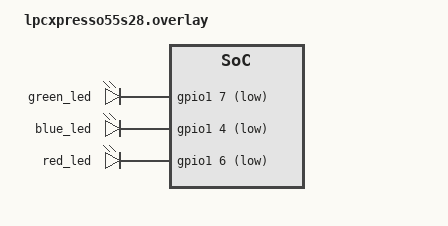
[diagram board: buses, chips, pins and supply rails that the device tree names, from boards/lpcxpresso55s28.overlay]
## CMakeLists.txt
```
cmake_minimum_required(VERSION 3.20.0)
find_package(Zephyr REQUIRED HINTS $ENV{ZEPHYR_BASE})
project(blinky-advanced)

target_sources(app PRIVATE src/main.c)
```

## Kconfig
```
config BLINK_INTERVAL_MS
	int "Blink interval"
	default 100
	help
	  Blink interval in milliseconds

source "Kconfig.zephyr"
```

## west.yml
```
manifest:
  remotes:
    - name: zephyr
      url-base: https://github.com/zephyrproject-rtos
  projects:
    - name: zephyr
      remote: zephyr
      revision: 4256cd41df6c60f1832fd2deb14edc30ac7debab
      import: true
  self:
    path: blinky-advanced
```

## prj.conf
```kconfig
CONFIG_LOG=y
CONFIG_LOG_PROCESS_THREAD_SLEEP_MS=100
```

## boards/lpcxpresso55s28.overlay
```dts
/ {
	aliases{
		button-on = &user_button_2;
		blinky-led = &blue_led;
	};
};

/* Fix LEDs active LOW on this hardware */
&green_led {
	gpios = <&gpio1 7 GPIO_ACTIVE_LOW>;
};

&blue_led {
	gpios = <&gpio1 4 GPIO_ACTIVE_LOW>;
};

&red_led {
	gpios = <&gpio1 6 GPIO_ACTIVE_LOW>;
};
```

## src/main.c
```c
#include <zephyr/kernel.h>
#include <zephyr/logging/log.h>
#include <zephyr/drivers/gpio.h>

LOG_MODULE_REGISTER(main, CONFIG_LOG_DEFAULT_LEVEL);

static const struct gpio_dt_spec button =
	GPIO_DT_SPEC_GET(DT_ALIAS(button_on), gpios);
static const struct gpio_dt_spec led =
	GPIO_DT_SPEC_GET(DT_ALIAS(blinky_led), gpios);
static struct gpio_callback button_cb_data;
static struct k_timer blink_timer;
static bool next_blink_value = true;
static int blink_interval_ms = CONFIG_BLINK_INTERVAL_MS;

static int toggle_led() {
	int status;

	LOG_INF("Set LED %s", next_blink_value ? "on" : "off");
	status = gpio_pin_set_dt(&led, next_blink_value);
	if (status) {
		LOG_ERR("Could not set LED value: %i", status);
	}
	next_blink_value = !next_blink_value;

	return status;
}

static void blink_timer_expired(struct k_timer *timer_id) {
	toggle_led();
}

static void blink_start(void) {
	LOG_INF("Start blinkinking");
	next_blink_value = true;
	k_timer_start(&blink_timer, K_MSEC(0), K_MSEC(blink_interval_ms));
}

static void blink_stop(void) {
	LOG_INF("Stop blinking");
	next_blink_value = false;
	toggle_led();
	k_timer_stop(&blink_timer);
}

static void button_pressed(const struct device *dev, struct gpio_callback *cb,
						   uint32_t pins) {
	int status;

	status = gpio_pin_get_dt(&button);
	if (status < 0) {
		LOG_ERR("Could not get button pin status: %i", status);
		return;
	}

	LOG_INF("Button status %i", status);
	if (status) {
		blink_start();
	} else {
		blink_stop();
	}
}

static int init_button(void) {
	int status;

	status = gpio_pin_configure_dt(&button, GPIO_INPUT);
	if (status) {
		LOG_ERR("Could not configure button input: %i", status);
		return status;
	}

	status = gpio_pin_interrupt_configure_dt(&button, GPIO_INT_EDGE_BOTH);
	if (status) {
		LOG_ERR("Could not configure button interrupt: %i", status);
		return status;
	}

	gpio_init_callback(&button_cb_data, button_pressed, BIT(button.pin));
	status = gpio_add_callback(button.port, &button_cb_data);
	if (status) {
		LOG_ERR("Could not add button callback: %i", status);
	}

	return status;
}

static int init_led(void) {
	int status;

	status = gpio_pin_configure_dt(&led, GPIO_OUTPUT_INACTIVE);
	if (status) {
		LOG_ERR("Could not configure button input: %i", status);
	}

	return status;
}

void main(void) {
	int status;

	LOG_INF("Starting blinky advanced");

	status = init_led();
	if (status) {
		LOG_WRN("Could not intialize LED: %i", status);
	}

	k_timer_init(&blink_timer, blink_timer_expired, NULL);

	status = init_button();
	if (status) {
		LOG_WRN("Could not intialize button ON: %i", status);
	}
}
```
